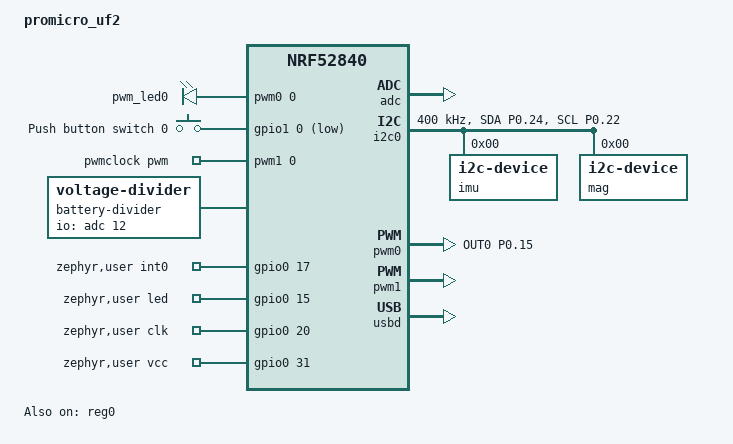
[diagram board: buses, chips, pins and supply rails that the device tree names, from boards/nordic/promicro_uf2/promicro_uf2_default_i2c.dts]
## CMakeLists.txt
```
#
# Copyright (c) 2023 Nordic Semiconductor
#
# SPDX-License-Identifier: LicenseRef-Nordic-5-Clause
#
cmake_minimum_required(VERSION 3.20.0)

# Configure VERSION from repository branch and tag
find_package(Git)

if(GIT_EXECUTABLE)
  execute_process(
    COMMAND ${GIT_EXECUTABLE} branch --show-current
    WORKING_DIRECTORY ${CMAKE_SOURCE_DIR}
    OUTPUT_VARIABLE GIT_BRANCH
    )
  execute_process(
    COMMAND ${GIT_EXECUTABLE} describe --dirty --tags --long --match [0-9]*.[0-9]*.[0-9]*
    WORKING_DIRECTORY ${CMAKE_SOURCE_DIR}
    OUTPUT_VARIABLE GIT_VERSION
    )
  # Prefer a https URL for display (falls back to ssh/origin.url)
  execute_process(
    COMMAND ${GIT_EXECUTABLE} config --get remote.origin.url
    WORKING_DIRECTORY ${CMAKE_SOURCE_DIR}
    OUTPUT_VARIABLE GIT_REPO_URL_SSH
    )
  execute_process(
    COMMAND ${GIT_EXECUTABLE} config --get remote.origin.https.url
    WORKING_DIRECTORY ${CMAKE_SOURCE_DIR}
    OUTPUT_VARIABLE GIT_REPO_URL_HTTPS
    )
  execute_process(
    COMMAND ${GIT_EXECUTABLE} log -1 --pretty=%an
    WORKING_DIRECTORY ${CMAKE_SOURCE_DIR}
    OUTPUT_VARIABLE GIT_AUTHOR
    )
endif()

if(GIT_BRANCH STREQUAL "")
  set(GIT_BRANCH unknown)
  message(WARNING "Unknown Git Branch")
endif()

if(GIT_VERSION STREQUAL "")
  set(GIT_VERSION 0.0.0-0)
  message(WARNING "Unknown Tag/Version")
endif()

# Choose URL: origin.https.url > origin.url
if(NOT GIT_REPO_URL_HTTPS STREQUAL "")
  set(GIT_REPO_URL ${GIT_REPO_URL_HTTPS})
else()
  set(GIT_REPO_URL ${GIT_REPO_URL_SSH})
endif()

# Normalize GitHub SSH URLs to HTTPS for display in firmware info
if(GIT_REPO_URL MATCHES "^git@github\\.com:(.+)$")
  set(GIT_REPO_URL "https://github.com/${CMAKE_MATCH_1}")
elseif(GIT_REPO_URL MATCHES "^ssh://git@github\\.com/(.+)$")
  set(GIT_REPO_URL "https://github.com/${CMAKE_MATCH_1}")
endif()
string(REGEX REPLACE "\\.git$" "" GIT_REPO_URL "${GIT_REPO_URL}")

if(GIT_REPO_URL STREQUAL "")
  set(GIT_REPO_URL unknown)
  message(WARNING "Unknown Git Repo URL")
endif()

if(GIT_AUTHOR STREQUAL "")
  set(GIT_AUTHOR unknown)
  message(WARNING "Unknown Git Author")
endif()

string(STRIP ${GIT_BRANCH} GIT_BRANCH)
string(STRIP ${GIT_VERSION} GIT_VERSION)
string(STRIP ${GIT_REPO_URL} GIT_REPO_URL)
string(STRIP ${GIT_AUTHOR} GIT_AUTHOR)

string(REPLACE "-" ";" GIT_VERSION ${GIT_VERSION})
list(GET GIT_VERSION 0 GIT_RELEASE)
list(GET GIT_VERSION 1 GIT_TWEAK)
string(REPLACE "v" "" GIT_RELEASE ${GIT_RELEASE})
string(REPLACE "." ";" GIT_RELEASE ${GIT_RELEASE})
list(GET GIT_RELEASE 0 GIT_MAJOR)
list(GET GIT_RELEASE 1 GIT_MINOR)
list(GET GIT_RELEASE 2 GIT_PATCH)

configure_file(${CMAKE_SOURCE_DIR}/VERSION_SRC ${CMAKE_SOURCE_DIR}/VERSION @ONLY)

# Pass metadata to C compilation units
add_compile_definitions(
  FW_GIT_BRANCH="${GIT_BRANCH}"
  FW_GIT_REPO_URL="${GIT_REPO_URL}"
  FW_GIT_AUTHOR="${GIT_AUTHOR}"
)

# Zephyr
find_package(Zephyr REQUIRED HINTS $ENV{ZEPHYR_BASE})
project(NONE)

find_package(Python3 QUIET COMPONENTS Interpreter)

if(NOT Python3_Interpreter_FOUND)
  find_program(PYTHON_EXECUTABLE NAMES python3 python REQUIRED)
  set(Python3_EXECUTABLE ${PYTHON_EXECUTABLE})
endif()

set(SOFTDEVICE_HEX_52840 ${CMAKE_SOURCE_DIR}/softdevice/s140_nrf52_7.3.0_softdevice.hex)
set(UF2_FAMILY_ID_52840 0xADA52840)

if(WITH_SOFTDEVICE)
  if(CONFIG_SOC_NRF52840)
    set(sd_softdevice_hex ${SOFTDEVICE_HEX_52840})
    set(sd_uf2_family_id ${UF2_FAMILY_ID_52840})
  else()
    message(FATAL_ERROR "WITH_SOFTDEVICE is currently only supported on nRF52840 targets")
  endif()

  if(DEFINED sd_softdevice_hex)
    if(NOT EXISTS ${sd_softdevice_hex})
      message(FATAL_ERROR "SoftDevice hex not found: ${sd_softdevice_hex}")
    endif()

    set(sd_merged_hex ${CMAKE_BINARY_DIR}/zephyr/zephyr_sd.hex)
    set(sd_merged_uf2 ${CMAKE_BINARY_DIR}/zephyr/zephyr_sd.uf2)

    add_custom_command(
      OUTPUT ${sd_merged_hex} ${sd_merged_uf2}
      COMMAND ${Python3_EXECUTABLE} ${ZEPHYR_BASE}/scripts/build/mergehex.py --overlap=replace -o ${sd_merged_hex} ${sd_softdevice_hex} ${CMAKE_BINARY_DIR}/zephyr/zephyr.hex
      COMMAND ${Python3_EXECUTABLE} ${ZEPHYR_BASE}/scripts/build/uf2conv.py ${sd_merged_hex} -c -f ${sd_uf2_family_id} -o ${sd_merged_uf2}
      DEPENDS ${sd_softdevice_hex} ${CMAKE_BINARY_DIR}/zephyr/zephyr.hex
      VERBATIM
    )

    add_custom_target(sd_merged_uf2 ALL DEPENDS ${sd_merged_hex} ${sd_merged_uf2})
  endif()
endif()

# NORDIC SDK APP START
FILE(GLOB_RECURSE app_sources src/*.c)
target_sources(app PRIVATE ${app_sources})

# fatal_hook.c overrides k_sys_fatal_error_handler (Zephyr __weak symbol).
# Must be compiled without LTO to avoid weak/strong symbol resolution
# conflicts in sysbuild CI where LTO merges all translation units.
set_source_files_properties(src/system/fatal_hook.c PROPERTIES COMPILE_FLAGS "-fno-lto")

# NORDIC SDK APP END

FILE(GLOB_RECURSE files vqf-c/src/*.c)
target_sources(app PRIVATE ${files})
set_property(
  SOURCE ${CMAKE_CURRENT_SOURCE_DIR}/vqf-c/src/vqf.c
  APPEND PROPERTY COMPILE_OPTIONS
  -Wno-double-promotion
)

target_include_directories(app PRIVATE src)
target_include_directories(app PRIVATE vqf-c/src)

# Force recompile for updated build timestamp
add_custom_target(touch_util_h ALL
    COMMAND ${CMAKE_COMMAND} -E touch ${CMAKE_SOURCE_DIR}/src/build_defines.h
)
```

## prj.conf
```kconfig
#CONFIG_NCS_SAMPLES_DEFAULTS
CONFIG_ASSERT=y
# CONFIG_ASSERT_NO_COND_INFO is NOT set - allow assertion condition info to be printed
# CONFIG_ASSERT_NO_MSG_INFO is NOT set - allow assertion message info to be printed

CONFIG_NCS_APPLICATION_BOOT_BANNER_STRING="UltimateB85"
#CONFIG_NCS_BOOT_BANNER=n
CONFIG_BOOT_BANNER=n

CONFIG_ISR_TABLES_LOCAL_DECLARATION=y

CONFIG_ESB=y
#need to enable for nRF54L
#CONFIG_NRFX_DPPI10=y

CONFIG_ADC=y
CONFIG_ADC_NRFX_SAADC=y
CONFIG_FPU=y

# CMSIS-DSP Configuration for VQF optimization
CONFIG_CMSIS_DSP=y
CONFIG_CMSIS_DSP_FASTMATH=y
CONFIG_CMSIS_DSP_BASICMATH=y
CONFIG_CMSIS_DSP_MATRIX=y
CONFIG_CMSIS_DSP_QUATERNIONMATH=y
CONFIG_CMSIS_DSP_SUPPORT=y
CONFIG_CMSIS_DSP_CONTROLLER=y
CONFIG_DSP=y

CONFIG_I2C=y
CONFIG_SPI=y
CONFIG_PINCTRL=y

CONFIG_NVS=y
CONFIG_NVS_LOOKUP_CACHE=y
CONFIG_NVS_INIT_BAD_MEMORY_REGION=y

CONFIG_POWEROFF=y
CONFIG_REBOOT=y

CONFIG_FLASH=y
CONFIG_FLASH_PAGE_LAYOUT=y
CONFIG_FLASH_MAP=y

CONFIG_SETTINGS=y
CONFIG_SETTINGS_RUNTIME=y
CONFIG_SETTINGS_NONE=y

CONFIG_MPU_ALLOW_FLASH_WRITE=y

CONFIG_RETAINED_MEM=y

CONFIG_USE_SEGGER_RTT=y
CONFIG_LOG=y
#CONFIG_PRINTK=y
CONFIG_LOG_PRINTK=y
CONFIG_LOG_MODE_DEFERRED=y
#CONFIG_LOG_MODE_IMMEDIATE=y
CONFIG_LOG_SPEED=y
CONFIG_LOG_BACKEND_RTT=y
CONFIG_CBPRINTF_FP_SUPPORT=y
CONFIG_ADC_LOG_LEVEL_OFF=y
CONFIG_LOG_FUNC_NAME_PREFIX_ERR=y
CONFIG_LOG_BUFFER_SIZE=4096
CONFIG_LOG_BACKEND_UART_AUTOSTART=y
CONFIG_LOG_PROCESS_THREAD_SLEEP_MS=25
CONFIG_LOG_PROCESS_THREAD_STACK_SIZE=1024

CONFIG_PWM=y
CONFIG_GPIO=y

CONFIG_CRC=y

CONFIG_NEWLIB_LIBC=y
# CONFIG_NRFX_TIMER1=y

#speed up boot? (use internal rc oscillator)
CONFIG_CLOCK_CONTROL_NRF_K32SRC_RC=y
CONFIG_CLOCK_CONTROL_NRF_K32SRC_20PPM=y

# dont need it
CONFIG_CRYPTO=n

# set timeout for 25ms, sufficient for ~1000 bytes
CONFIG_I2C_NRFX_TRANSFER_TIMEOUT=25

CONFIG_USB_DEVICE_HID=y
CONFIG_USB_DEVICE_STACK=y
CONFIG_USB_DEVICE_VID=0x1209
CONFIG_USB_DEVICE_PID=0x7692
CONFIG_USB_HID_BOOT_PROTOCOL=y
CONFIG_USB_DEVICE_INITIALIZE_AT_BOOT=n
CONFIG_USB_CDC_ACM=y
CONFIG_UART_INTERRUPT_DRIVEN=y
CONFIG_USB_WORKQUEUE_STACK_SIZE=1024

CONFIG_SERIAL=y
CONFIG_CONSOLE=y
CONFIG_RTT_CONSOLE=y
CONFIG_UART_CONSOLE=y
CONFIG_UART_LINE_CTRL=y

# Increase USB CDC ACM ring buffer size
CONFIG_USB_CDC_ACM_RINGBUF_SIZE=4096

CONFIG_LOG=y
CONFIG_USB_DRIVER_LOG_LEVEL_ERR=y
CONFIG_USB_DEVICE_LOG_LEVEL_ERR=y
CONFIG_USB_CDC_ACM_LOG_LEVEL_OFF=y

CONFIG_LOG_BACKEND_UART=y

CONFIG_CONSOLE_SUBSYS=y
CONFIG_CONSOLE_GETLINE=y

CONFIG_NVS_LOG_LEVEL_WRN=y
CONFIG_USB_HID_LOG_LEVEL_WRN=y

CONFIG_USB_DEVICE_SOF=y
CONFIG_USB_HID_REPORTS=256

#CONFIG_USB_HID_POLL_INTERVAL_MS=1
CONFIG_USB_HID_POLL_INTERVAL_MS=0
CONFIG_HID_INTERRUPT_EP_MPS=64
#CONFIG_ENABLE_HID_INT_OUT_EP=y

CONFIG_SYSTEM_WORKQUEUE_STACK_SIZE=512
CONFIG_MAIN_STACK_SIZE=2048
#crashing on nrf54l at 512

CONFIG_THREAD_NAME=y

# TODO: because of icm426, this will break things and needs to be raised to at least 3k
CONFIG_HEAP_MEM_POOL_SIZE=4096
CONFIG_ISR_STACK_SIZE=1024

CONFIG_PM_DEVICE=y


CONFIG_USE_ACTIVE_TIMEOUT=y

# 100ms switch delay will be obvious to users, so we choose not to use it by default,
# but it can be enabled for testing or specific use cases
CONFIG_SENSOR_USE_LOW_POWER_2=n

# control low power mode
# due to current mag reading is process in sensor loop,
# low power mode will cause mag reading isn't at target odr,
# so currently it should be disabled by default
CONFIG_USE_IMU_TIMEOUT=n
# a very large low power timeout (1h) to prevent it from triggering
CONFIG_SENSOR_LP_TIMEOUT=3600000

# 135 seconds timeout with wake on motion
CONFIG_ACTIVE_TIMEOUT_DELAY=135000
CONFIG_USE_IMU_WAKE_UP=y

# or 6 hours timeout
# CONFIG_USE_IMU_WAKE_UP=n
# CONFIG_ACTIVE_TIMEOUT_DELAY=21600000

CONFIG_USER_EXTRA_ACTIONS=y
CONFIG_DISABLE_SENSOR_GPIOS_ON_SHUTDOWN=y

CONFIG_ESB_MAX_PAYLOAD_LENGTH=72
CONFIG_ESB_TX_FIFO_SIZE=8
CONFIG_ESB_RX_FIFO_SIZE=8
CONFIG_RADIO_RF_CHANNEL=84
CONFIG_RADIO_RETRANSMIT_DELAY=310
CONFIG_CONNECTION_ENABLE_ACK=n
CONFIG_RADIO_TX_POWER=8
# 3 minutes timeout after ping continuous failed
CONFIG_CONNECTION_TIMEOUT_DELAY=180000

CONFIG_SENSOR_USE_6_SIDE_CALIBRATION=y
CONFIG_SENSOR_USE_SENS_CALIBRATION=y
CONFIG_SENSOR_SENS_REV=5

CONFIG_SENSOR_USE_TCAL=y

# Boot calibration is disabled by default
# CONFIG_SENSOR_USE_BOOT_CALIBRATION=y

# Range statistics tracking (disabled by default to optimize performance)
# CONFIG_SENSOR_RANGE_STATS=y

# CONFIG_SENSOR_GYRO_ODR=400
# oversampling and odr settings
# icm45 800, dsv 960
CONFIG_SENSOR_GYRO_ODR=400
# icm45 ~200, dsv ~240
# CONFIG_SENSOR_GYRO_OVERSAMPLING=4
# icm45 800, dsv 960
# CONFIG_SENSOR_ACCEL_ODR=800
# icm45 ~100, dsv ~120
# CONFIG_SENSOR_ACCEL_OVERSAMPLING=8
CONFIG_SENSOR_MAG_ODR=50
CONFIG_SENSOR_MAG_FIXED_ODR=y

# VQF experimental features
# CONFIG_VQF_ADAPTIVE_TAU_ACC=y

# Watchdog Configuration
CONFIG_WATCHDOG=y
CONFIG_WDT_NRFX=y
CONFIG_TASK_WDT=y
CONFIG_TASK_WDT_CHANNELS=8
CONFIG_TASK_WDT_HW_FALLBACK=y
CONFIG_TASK_WDT_HW_FALLBACK_DELAY=5000

# enable tdma on board which don't have lfxo, it can use lf clock synthesized by hf clock,
# but it will increase a lot of power consumption, so if you want to use it, you can enable below config,
# or define it in board level Kconfig file.

# CONFIG_CLOCK_USE_LFXO=n
CONFIG_CONNECTION_TDMA=y

# Enable VQF benchmark mode for performance testing (disabled by default)
# CONFIG_VQF_BENCH=y
```

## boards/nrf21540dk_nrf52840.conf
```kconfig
CONFIG_USB_DEVICE_STACK=y
CONFIG_USB_DEVICE_MANUFACTURER="CaRido"
CONFIG_USB_DEVICE_PRODUCT="UltimateB85"
```

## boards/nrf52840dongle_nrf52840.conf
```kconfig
CONFIG_USB_DEVICE_STACK=y
CONFIG_USB_DEVICE_MANUFACTURER="CaRido"
CONFIG_USB_DEVICE_PRODUCT="UltimateB85"

CONFIG_LED_RGB_COLOR=y
```

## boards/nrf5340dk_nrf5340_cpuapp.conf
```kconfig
CONFIG_USB_DEVICE_STACK=y
CONFIG_USB_DEVICE_MANUFACTURER="CaRido"
CONFIG_USB_DEVICE_PRODUCT="UltimateB85"

CONFIG_ESB=n
```

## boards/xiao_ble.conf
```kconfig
CONFIG_USB_DEVICE_STACK=y
CONFIG_USB_DEVICE_MANUFACTURER="CaRido"
CONFIG_USB_DEVICE_PRODUCT="UltimateB85"
CONFIG_USB_DEVICE_INITIALIZE_AT_BOOT=y
CONFIG_BOOT_DELAY=2000

CONFIG_BATTERY_USE_REG_LDO_MAPPING=y
CONFIG_LED_RGB_COLOR=y
```

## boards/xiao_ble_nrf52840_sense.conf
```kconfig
CONFIG_USB_DEVICE_STACK=y
CONFIG_USB_DEVICE_MANUFACTURER="CaRido"
CONFIG_USB_DEVICE_PRODUCT="UltimateB85"

CONFIG_BATTERY_USE_REG_LDO_MAPPING=y
CONFIG_LED_RGB_COLOR=y
```

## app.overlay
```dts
/ {
	chosen {
		zephyr,console = &cdc_acm_uart0;
		zephyr,shell-uart = &cdc_acm_uart0;
	};
};

&usbd {
	cdc_acm_uart0: cdc_acm_uart0 {
		compatible = "zephyr,cdc-acm-uart";
	};
};
```

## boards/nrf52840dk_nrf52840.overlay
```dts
&pwm0_default {
	group1 {
		psels = <NRF_PSEL(PWM_OUT0, 0, 13)>,
			<NRF_PSEL(PWM_OUT1, 0, 14)>,
			<NRF_PSEL(PWM_OUT2, 0, 15)>;
		nordic,drive-mode = <NRF_DRIVE_D0S1>;
		nordic,invert;
	};
};

&pwm0_sleep {
	group1 {
		psels = <NRF_PSEL(PWM_OUT0, 0, 13)>,
			<NRF_PSEL(PWM_OUT1, 0, 14)>,
			<NRF_PSEL(PWM_OUT2, 0, 15)>;
	};
};

&i2c0_default {
	group1 {
		bias-disable;
	};
};

&i2c0_sleep {
	group1 {
		bias-disable;
	};
};

/ {
	chosen {
		zephyr,console = &cdc_acm_uart0;
		zephyr,shell-uart = &cdc_acm_uart0;
	};

	pwmleds {
		pwm_led1: pwm_led_1 {
			pwms = <&pwm0 1 PWM_MSEC(20) PWM_POLARITY_INVERTED>;
		};
		pwm_led2: pwm_led_2 {
			pwms = <&pwm0 2 PWM_MSEC(20) PWM_POLARITY_INVERTED>;
		};
	};

	battery-divider {
		compatible = "voltage-divider";
		status = "okay";
		io-channels = <&adc 12>; // Measure VDDHDIV5
		output-ohms = <1>;
		full-ohms = <2>;
	};

	aliases {
		pwm-led1 = &pwm_led1;
		pwm-led2 = &pwm_led2;
	};
};

&i2c0 {
	compatible = "nordic,nrf-twim";
	zephyr,concat-buf-size = <1023>;
	zephyr,flash-buf-max-size = <1023>;
	clock-frequency = <I2C_BITRATE_FAST>;

	imu: imu@0 { // any address out of range (00, 7f, etc. will search all addresses and stored address first if available, specify an address here to search first otherwise
		compatible = "i2c-device";
		label = "imu";
		reg = <0>;
	};

	mag: mag@0 {
		compatible = "i2c-device";
		label = "mag";
		reg = <0>;
	};

};

&spi3 {
	imu_spi: imu_spi@0 {
		compatible = "vnd,spi-device";
		spi-max-frequency = <DT_FREQ_M(32)>;
		label = "imu-spi";
		reg = <0>;
	};
};

&usbd {
	cdc_acm_uart0: cdc_acm_uart0 {
		compatible = "zephyr,cdc-acm-uart";
	};
};
```

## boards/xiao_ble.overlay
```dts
&i2c1_default {
	group1 {
		psels = <NRF_PSEL(TWIM_SDA, 0, 24)>, <NRF_PSEL(TWIM_SCL, 0, 22)>;
		bias-disable;
	};
};

&i2c1_sleep {
	group1 {
		psels = <NRF_PSEL(TWIM_SDA, 0, 24)>, <NRF_PSEL(TWIM_SCL, 0, 22)>;
		bias-disable;
	};
};

&spi2_default {
	group1 {
		psels = <NRF_PSEL(SPIM_MISO, 1, 11)>,
			<NRF_PSEL(SPIM_MOSI, 1, 13)>,
			<NRF_PSEL(SPIM_SCK, 1, 15)>;
	};
};

&spi2_sleep {
	group1 {
		psels = <NRF_PSEL(SPIM_MISO, 1, 11)>,
			<NRF_PSEL(SPIM_MOSI, 1, 13)>,
			<NRF_PSEL(SPIM_SCK, 1, 15)>;
		low-power-enable;
	};
};

&pwm0_default {
	group1 {
		psels = <NRF_PSEL(PWM_OUT0, 0, 26)>,
			<NRF_PSEL(PWM_OUT1, 0, 30)>,
			<NRF_PSEL(PWM_OUT2, 0, 6)>;
		nordic,drive-mode = <NRF_DRIVE_D0S1>;
		nordic,invert;
	};
};

&pwm0_sleep {
	group1 {
		psels = <NRF_PSEL(PWM_OUT0, 0, 26)>,
			<NRF_PSEL(PWM_OUT1, 0, 30)>,
			<NRF_PSEL(PWM_OUT2, 0, 6)>;
	};
};

/ {
	chosen {
		zephyr,console = &cdc_acm_uart0;
		zephyr,shell-uart = &cdc_acm_uart0;
	};

	pwmleds {
		pwm_led0: pwm_led_0 {
			pwms = <&pwm0 0 PWM_MSEC(1) PWM_POLARITY_INVERTED>;
		};
		pwm_led1: pwm_led_1 {
			pwms = <&pwm0 1 PWM_MSEC(1) PWM_POLARITY_INVERTED>;
		};
		pwm_led2: pwm_led_2 {
			pwms = <&pwm0 2 PWM_MSEC(1) PWM_POLARITY_INVERTED>;
		};
	};

	buttons {
		compatible = "gpio-keys";
		button0: button_0 {
			gpios = <&gpio0 2 (GPIO_PULL_UP | GPIO_ACTIVE_LOW)>;
			label = "Push button switch 0";
			status = "disabled";
		};
	};

	aliases {
		// sw0 = &button0; // Uncomment to Enable SW0
		pwm-led1 = &pwm_led1;
		pwm-led2 = &pwm_led2;
	};

	battery-divider {
        compatible = "voltage-divider";
        status = "okay";
        io-channels = <&adc 7>;
        output-ohms = <510000>;
        full-ohms = <(1000000+510000)>;
        power-gpios = <&gpio0 14 (GPIO_OPEN_DRAIN|GPIO_ACTIVE_LOW)>;
	};

	zephyr,user {
		int0-gpios = <&gpio0 2 0>;
		led-gpios = <&gpio0 17 (GPIO_OPEN_DRAIN|GPIO_ACTIVE_LOW)>;
		// clk-gpios = <&gpio0 28 GPIO_OPEN_DRAIN>; // Uncomment and set to correct pin if using an external clock (crystal oscillator)
	};

};

/delete-node/ &uart0;

&i2c1 {
	status = "okay";
	compatible = "nordic,nrf-twim";
	zephyr,concat-buf-size = <1023>;
	zephyr,flash-buf-max-size = <1023>;
	clock-frequency = <I2C_BITRATE_STANDARD>;

	imu: imu@0 { // any address out of range (00, 7f, etc. will search all addresses and stored address first if available, specify an address here to search first otherwise
		compatible = "i2c-device";
		label = "imu";
		reg = <0>;
	};

	mag: mag@0 {
		compatible = "i2c-device";
		label = "mag";
		reg = <0>;
	};

};

&usbd {
	cdc_acm_uart0: cdc_acm_uart0 {
		compatible = "zephyr,cdc-acm-uart";
	};
};

/delete-node/ &spi2;
/delete-node/ &qspi;

&spi3 {
	compatible = "nordic,nrf-spim";
	status = "okay";
	max-frequency = <DT_FREQ_M(24)>;
	pinctrl-0 = <&spi2_default>;
	pinctrl-1 = <&spi2_sleep>;
	pinctrl-names = "default", "sleep";
	cs-gpios = <&gpio1 0 GPIO_ACTIVE_LOW>;

	imu_spi: imu_spi@0 {
		compatible = "vnd,spi-device";
		spi-max-frequency = <DT_FREQ_M(24)>;
		label = "imu-spi";
		reg = <0>;
	};
};

&cryptocell {
	status = "disabled";
};

&nfct {
	status = "disabled";
};
```

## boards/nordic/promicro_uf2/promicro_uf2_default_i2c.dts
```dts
// Copyright (c) 2024 Nordic Semiconductor ASA
// SPDX-License-Identifier: Apache-2.0

/dts-v1/;
#include <nordic/nrf52840_qiaa.dtsi>

//move to dtsi?
&pinctrl {
	i2c0_default: i2c0_default {
		group1 {
			psels = <NRF_PSEL(TWIM_SDA, 0, 24)>, <NRF_PSEL(TWIM_SCL, 0, 22)>;
			bias-disable;
		};
	};

	i2c0_sleep: i2c0_sleep {
		group1 {
			psels = <NRF_PSEL(TWIM_SDA, 0, 24)>, <NRF_PSEL(TWIM_SCL, 0, 22)>;
			bias-disable;
			low-power-enable;
		};
	};

	pwm0_default: pwm0_default {
		group1 {
			psels = <NRF_PSEL(PWM_OUT0, 0, 15)>;
			nordic,drive-mode = <NRF_DRIVE_D0S1>;
		};
	};

	pwm0_sleep: pwm0_sleep {
		group1 {
			psels = <NRF_PSEL(PWM_OUT0, 0, 15)>;
			low-power-enable;
		};
	};

	pwm1_default: pwm1_default {
		group1 {
			psels = <NRF_PIN_DISCONNECTED>;
		};
	};

	pwm1_sleep: pwm1_sleep {
		group1 {
			psels = <NRF_PIN_DISCONNECTED>;
			low-power-enable;
		};
	};
};
//end

/ {
	model = "promicro_uf2";
	compatible = "promicro_uf2";

	chosen {
		zephyr,sram = &sram0;
		zephyr,flash = &flash0;
		zephyr,console = &cdc_acm_uart0;
		zephyr,shell-uart = &cdc_acm_uart0;
	};

	pwmleds {
		compatible = "pwm-leds";
		pwm_led0: pwm_led_0 {
			pwms = <&pwm0 0 PWM_MSEC(1) PWM_POLARITY_NORMAL>;
		};
	};

	buttons {
		compatible = "gpio-keys";
		button0: button_0 {
			gpios = <&gpio1 0 (GPIO_PULL_UP | GPIO_ACTIVE_LOW)>;
			label = "Push button switch 0";
		};
	};

	aliases {
		sw0 = &button0;
		pwm-led0 = &pwm_led0;
	};

	pwmclock: pwmclock {
		compatible = "pwm-clock";
		#clock-cells = <1>;
		pwms = <&pwm1 0 PWM_HZ(32768) PWM_POLARITY_NORMAL>;
	};

	battery-divider {
		compatible = "voltage-divider";
		status = "okay";
		io-channels = <&adc 12>; // Measure VDDHDIV5
		output-ohms = <1>;
		full-ohms = <5>;
	};

	zephyr,user {
		int0-gpios = <&gpio0 17 0>;
		led-gpios = <&gpio0 15 GPIO_OPEN_SOURCE>;
		clk-gpios = <&gpio0 20 GPIO_OPEN_DRAIN>; // Uncomment and set to correct pin if using an external clock (crystal oscillator)
		vcc-gpios = <&gpio0 31 0>;
	};

};

&reg0 {
	status = "okay";
};

&reg1 {
	regulator-initial-mode = <NRF5X_REG_MODE_DCDC>;
};

&adc {
	status = "okay";
};

&gpiote {
	status = "okay";
};

&gpio0 {
	status = "okay";
};

&gpio1 {
	status = "okay";
};

&i2c0 {
	compatible = "nordic,nrf-twim";
	status = "okay";
	zephyr,concat-buf-size = <1023>;
	zephyr,flash-buf-max-size = <1023>;
	clock-frequency = <I2C_BITRATE_FAST>;
	pinctrl-0 = <&i2c0_default>;
	pinctrl-1 = <&i2c0_sleep>;
	pinctrl-names = "default", "sleep";

	imu: imu@0 {
		compatible = "i2c-device";
		label = "imu";
		reg = <0>;
	};

	mag: mag@0 {
		compatible = "i2c-device";
		label = "mag";
		reg = <0>;
	};

};

&pwm0 {
	status = "okay";
	pinctrl-0 = <&pwm0_default>;
	pinctrl-1 = <&pwm0_sleep>;
	pinctrl-names = "default", "sleep";
};

&pwm1 {
	status = "okay";
	pinctrl-0 = <&pwm1_default>;
	pinctrl-1 = <&pwm1_sleep>;
	pinctrl-names = "default", "sleep";
};

zephyr_udc0: &usbd {
	compatible = "nordic,nrf-usbd";
	status = "okay";
	cdc_acm_uart0: cdc_acm_uart0 {
		compatible = "zephyr,cdc-acm-uart";
	};
};

&cryptocell {
	status = "disabled";
};

&nfct {
	status = "disabled";
};
```

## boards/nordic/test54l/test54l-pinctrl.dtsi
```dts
&pinctrl {
	i2c0_default: i2c0_default {
		group1 {
			psels = <NRF_PSEL(TWIM_SDA, 1, 6)>,
				<NRF_PSEL(TWIM_SCL, 1, 5)>;
			bias-disable;
		};
	};

	i2c0_sleep: i2c0_sleep {
		group1 {
			psels = <NRF_PSEL(TWIM_SDA, 1, 6)>,
				<NRF_PSEL(TWIM_SCL, 1, 5)>;
			low-power-enable;
			bias-disable;
		};
	};

	spi00_default: spi00_default {
		group1 {
			psels = <NRF_PSEL(SPIM_SCK, 1, 4)>,
				<NRF_PSEL(SPIM_MOSI, 1, 3)>,
				<NRF_PSEL(SPIM_MISO, 1, 2)>;
		};
	};

	spi00_sleep: spi00_sleep {
		group1 {
			psels = <NRF_PSEL(SPIM_SCK, 1, 4)>,
				<NRF_PSEL(SPIM_MOSI, 1, 3)>,
				<NRF_PSEL(SPIM_MISO, 1, 2)>;
				low-power-enable;
		};
	};

};
```

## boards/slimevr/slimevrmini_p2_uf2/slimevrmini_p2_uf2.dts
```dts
// Copyright (c) 2024 Nordic Semiconductor ASA
// SPDX-License-Identifier: Apache-2.0

/dts-v1/;
#include <nordic/nrf52833_qiaa.dtsi>

//move to dtsi?
&pinctrl {
	i2c0_default: i2c0_default {
		group1 {
			psels = <NRF_PSEL(TWIM_SDA, 0, 26)>, <NRF_PSEL(TWIM_SCL, 0, 27)>;
			bias-disable;
		};
	};

	i2c0_sleep: i2c0_sleep {
		group1 {
			psels = <NRF_PSEL(TWIM_SDA, 0, 26)>, <NRF_PSEL(TWIM_SCL, 0, 27)>;
			bias-disable;
			low-power-enable;
		};
	};

	pwm0_default: pwm0_default {
		group1 {
			psels = <NRF_PSEL(PWM_OUT0, 0, 6)>;
			nordic,drive-mode = <NRF_DRIVE_D0S1>;
			nordic,invert;
		};
	};

	pwm0_sleep: pwm0_sleep {
		group1 {
			psels = <NRF_PSEL(PWM_OUT0, 0, 6)>;
			low-power-enable;
		};
	};
};
//end

/ {
	model = "slimevrmini_p2_uf2";
	compatible = "slimevrmini_p2_uf2";

	chosen {
		zephyr,sram = &sram0;
		zephyr,flash = &flash0;
		zephyr,console = &cdc_acm_uart0;
		zephyr,shell-uart = &cdc_acm_uart0;
	};

	pwmleds {
		compatible = "pwm-leds";
		pwm_led0: pwm_led_0 {
			pwms = <&pwm0 0 PWM_MSEC(1) PWM_POLARITY_INVERTED>;
		};
	};

	buttons {
		compatible = "gpio-keys";
		button0: button_0 {
			gpios = <&gpio0 8 (GPIO_PULL_UP | GPIO_ACTIVE_LOW)>;
			label = "Push button switch 0";
		};
	};

	aliases {
		sw0 = &button0;
		pwm-led0 = &pwm_led0;
	};

	battery-divider {
		compatible = "voltage-divider";
		status = "okay";
		io-channels = <&adc 0>;
		output-ohms = <402000>;
		full-ohms = <(402000+402000)>;
		power-gpios = <&gpio0 14 (GPIO_OPEN_DRAIN | GPIO_ACTIVE_LOW)>;
	};

	zephyr,user {
		int0-gpios = <&gpio0 28 0>;
		int1-gpios = <&gpio0 2 (GPIO_ACTIVE_LOW | GPIO_PULL_UP)>;
		led-gpios = <&gpio0 6 (GPIO_OPEN_DRAIN | GPIO_ACTIVE_LOW)>;
		//clk-gpios = <&gpio0 28 GPIO_OPEN_DRAIN>;
		chg-gpios = <&gpio0 17 (GPIO_ACTIVE_LOW | GPIO_PULL_UP)>;
		stby-gpios = <&gpio0 15 (GPIO_ACTIVE_LOW | GPIO_PULL_UP)>;
		//dcdc-gpios = <&gpio1 1 GPIO_OPEN_DRAIN>;
		//ldo-gpios = <&gpio1 2 GPIO_OPEN_DRAIN>;
	};

};

&reg1 {
	regulator-initial-mode = <NRF5X_REG_MODE_DCDC>;
};

&adc {
	status = "okay";
};

&gpiote {
	status = "okay";
};

&gpio0 {
	status = "okay";
};

&gpio1 {
	status = "okay";
};

&i2c0 {
	compatible = "nordic,nrf-twim";
	status = "okay";
	zephyr,concat-buf-size = <1023>;
	zephyr,flash-buf-max-size = <1023>;
	clock-frequency = <I2C_BITRATE_FAST>;
	pinctrl-0 = <&i2c0_default>;
	pinctrl-1 = <&i2c0_sleep>;
	pinctrl-names = "default", "sleep";

	imu: imu@0 { // any address out of range (00, 7f, etc. will search all addresses and stored address first if available, specify an address here to search first otherwise
		compatible = "i2c-device";
		label = "imu";
		reg = <0>;
	};

	mag: mag@0 {
		compatible = "i2c-device";
		label = "mag";
		reg = <0>;
	};

};

&pwm0 {
	status = "okay";
	pinctrl-0 = <&pwm0_default>;
	pinctrl-1 = <&pwm0_sleep>;
	pinctrl-names = "default", "sleep";
};

zephyr_udc0: &usbd {
	compatible = "nordic,nrf-usbd";
	status = "okay";
	cdc_acm_uart0: cdc_acm_uart0 {
		compatible = "zephyr,cdc-acm-uart";
	};
};

&nfct {
	status = "disabled";
};
```

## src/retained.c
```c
/*
 * Copyright (c) 2021 Nordic Semiconductor ASA
 *
 * SPDX-License-Identifier: Apache-2.0
 */

#include "retained.h"

#include <stdint.h>
#include <string.h>

#include <zephyr/kernel.h>
#include <zephyr/devicetree.h>
#include <zephyr/drivers/retained_mem.h>
#include <zephyr/sys/byteorder.h>
#include <zephyr/sys/crc.h>

#include "build_defines.h"

#if DT_NODE_HAS_STATUS_OKAY(DT_ALIAS(retainedmemdevice))
#define MEMORY_REGION DT_PARENT(DT_ALIAS(retainedmemdevice))
#else
#error "retained_mem region not defined"
#endif

struct retained_data *retained = (struct retained_data *)DT_REG_ADDR(MEMORY_REGION);

#define RETAINED_CRC_OFFSET offsetof(struct retained_data, crc)
#define RETAINED_CHECKED_SIZE (RETAINED_CRC_OFFSET + sizeof(retained->crc))

static uint64_t init_time;

static int retained_init(void)
{
	init_time = k_uptime_ticks(); // Get current uptime in ticks as soon as possible
	return 0;
}

// TODO: priority?
SYS_INIT(retained_init, APPLICATION, CONFIG_APPLICATION_INIT_PRIORITY);

bool retained_validate(void)
{
	NRF_STATIC_ASSERT((RETAINED_CHECKED_SIZE <= 3072), "Retained data size exceeds 3 KB limit");

	uint64_t now = init_time;
//	uint64_t now = k_uptime_ticks(); // Get current uptime in ticks as soon as possible

	/* The residue of a CRC is what you get from the CRC over the
	 * message catenated with its CRC.  This is the post-final-xor
	 * residue for CRC-32 (CRC-32/ISO-HDLC) which Zephyr calls
	 * crc32_ieee.
	 */
	const uint32_t residue = 0x2144df1c;
	uint32_t crc = crc32_ieee((const uint8_t *)retained,
				  RETAINED_CHECKED_SIZE);
	bool valid = (crc == residue);

	/* Check the build timestamp of the firmware that last updated
	 * the retained data.
	 */
	valid &= (retained->build_timestamp == BUILD_TIMESTAMP);

	/* If the CRC isn't valid or the build timestamp is different
	 * from the current build timestamp, reset the retained data.
	 */
	if (!valid) {
		/* Clear entire retained data including watchdog_state when CRC/build_timestamp invalid
		 * (e.g., after firmware update). This ensures total_wdt_resets doesn't have garbage values.
		 */
		memset(retained, 0, sizeof(struct retained_data));
		retained->build_timestamp = BUILD_TIMESTAMP;
		retained->gyroSensScale[0] = 1.0f;
		retained->gyroSensScale[1] = 1.0f;
		retained->gyroSensScale[2] = 1.0f;
		// Initialize battery tracker to invalid state (-1)
		retained->max_battery_pptt = -1;
		retained->min_battery_pptt = -1;
		retained->battery_pptt_saved = -1;
#if CONFIG_SENSOR_USE_TCAL
		// Initialize boot calibration state
		#ifdef CONFIG_SENSOR_USE_BOOT_CALIBRATION
		retained->bootCalState.enabled = true;
		#else
		retained->bootCalState.enabled = false;
		#endif
		retained->bootCalState.completed = false;
		retained->bootCalState.attempt_count = 0;
		retained->bootCalState.doffset_valid = false;
		retained->bootCalState.doffset[0] = 0.0f;
		retained->bootCalState.doffset[1] = 0.0f;
		retained->bootCalState.doffset[2] = 0.0f;
		retained->tcal_enabled = true; // T-Cal compensation enabled by default
#endif
		/* Initialize watchdog_state with valid magic but zero counters */
		retained->watchdog_state.magic = WATCHDOG_STATE_MAGIC;
		retained->watchdog_state.reset_count = 0;
		retained->watchdog_state.total_wdt_resets = 0;
		retained->watchdog_state.last_failed_channel = 0;
		retained->watchdog_state.last_reset_uptime = 0;

		/* Initialize last_reset_info magic (counters are zero from memset) */
		retained->last_reset_info.magic = LAST_RESET_INFO_MAGIC;

		/* Initialize fatal_error_info magic (counters are zero from memset) */
		retained->fatal_error_info.magic = FATAL_ERROR_INFO_MAGIC;
	}

	/* Reset to accrue runtime from this session. */
	retained->uptime_latest = now;
	retained->battery_uptime_latest = now;

	return valid;
}

void retained_update(void)
{
	uint64_t now = k_uptime_ticks();

	retained->uptime_sum += (now - retained->uptime_latest);
	retained->uptime_latest = now;

	uint32_t crc = crc32_ieee((const uint8_t *)retained,
				  RETAINED_CRC_OFFSET);

	retained->crc = sys_cpu_to_le32(crc);
}
```

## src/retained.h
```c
/*
 * Copyright (c) 2021 Nordic Semiconductor ASA
 *
 * SPDX-License-Identifier: Apache-2.0
 */

#ifndef RETAINED_H_
#define RETAINED_H_

#include <stdbool.h>
#include <stddef.h>
#include <stdint.h>

#if CONFIG_SENSOR_USE_TCAL
// A single point in temperature calibration data
struct TempCalPoint {
	float temp;    // The temperature for this point
	float bias[3]; // The gyro bias (x, y, z)
};
#endif

struct retained_data {
	/* The build version of the firmware that last updated the
	 * retained data.
	 */
	uint32_t build_timestamp;

	/* The uptime from the current session the last time the
	 * retained data was updated.
	 */
	uint64_t uptime_latest;

	/* Cumulative uptime from all previous sessions up through
	 * uptime_latest of this session.
	 */
	uint64_t uptime_sum;

	/* Battery statistics.  Tracking for discharge curve only begins
	 * after ~3% discharged.  If battery_pptt has changed significantly
	 * compared to min_battery_pptt since the last update,
	 * the statistics are cleared and may be saved to NVS.
	 */
	int16_t max_battery_pptt;
	int16_t min_battery_pptt;

	/* Battery uptime from last retained update */
	uint64_t battery_uptime_latest;

	/* Cumulative runtime */
	uint64_t battery_runtime_sum;

	/* Last interval stored in NVS */
	int16_t battery_pptt_saved;
	uint64_t battery_runtime_saved;

	/* Calibrated discharge curve */
	int16_t battery_pptt_curve[18];

	uint8_t reboot_counter;
	uint8_t paired_addr[8];

	uint8_t sensor_data[128];

	float accelBias[3];
	float gyroBias[3];
	float magBias[3];
	float magBAinv[4][3];
	float accBAinv[4][3];
	float gyroSensScale[3]; // Gyro sensitivity


	uint8_t fusion_id; // fusion_data_stored
	uint8_t fusion_data[784];

	uint16_t imu_addr;
	uint16_t mag_addr;

	uint8_t imu_reg;
	uint8_t mag_reg;

	uint8_t rf_channel; // RF channel (0-100), 0xFF means use default

	bool mag_enabled;

	// Online magnetometer calibration runtime state.
	// Persists across WoM resumes so online mag cal does not re-enter
	// early bootstrap after every wake, but is cleared on full reboot/shutdown.
	struct {
		float last_buf_avg_norm;
		uint8_t update_count;
		uint8_t reserved[3];
	} onlineMagState;

#if CONFIG_SENSOR_USE_TCAL
	bool tcal_enabled; // Temperature calibration compensation enabled
	float gyroTemp;

	#define TCAL_BUFFER_SIZE                                                                                               \
		(int)((CONFIG_SENSOR_POLY_TEMP_MAX - CONFIG_SENSOR_POLY_TEMP_MIN) * CONFIG_SENSOR_POLY_STEPS_PER_DEGREE)
		struct TempCalPoint tempCalPoints[TCAL_BUFFER_SIZE];
	float tempCalCoeffs[3][CONFIG_SENSOR_POLY_DEGREE + 1];
	float tempCalCorrectionOffset[3];

	struct {
		uint16_t count;
		bool valid;
		uint8_t degree;
	} tempCalState;

	// Boot calibration state (runtime only, persists in WoM but resets on full reboot)
	struct {
		bool enabled;              // Feature enabled
		bool completed;            // Completed for this boot
		uint8_t attempt_count;     // Number of attempts
		float doffset[3];          // Calculated D_offset (runtime only)
		bool doffset_valid;        // D_offset is valid
	} bootCalState;
#endif

	/* CRC used to validate the retained data.  This must be
	 * stored little-endian, and covers everything up to but not
	 * including this field.
	 */
	uint32_t crc;

	/* ==== FIELDS BELOW ARE NOT INCLUDED IN CRC CALCULATION ==== */
	/* These fields are intentionally placed after the CRC so they can
	 * be modified without invalidating the CRC. This is important for
	 * watchdog state which must persist across unexpected resets.
	 */

	// Watchdog state (persists across WDT resets, outside CRC validation)
	struct {
		uint8_t reset_count;           // WDT consecutive reset count
		uint8_t last_failed_channel;   // Last channel that failed to feed
		uint32_t last_reset_uptime;    // System uptime at last WDT reset (ms)
		uint32_t total_wdt_resets;     // Cumulative WDT reset count (for debugging)
		uint32_t magic;                // Magic number to validate watchdog state
	} watchdog_state;

	// Last reset diagnostics (persists across all reset types, outside CRC)
	struct {
		uint32_t resetreas;            // RESETREAS register value from last reset
		uint8_t  reboot_counter;       // reboot_counter at time of last reset
		uint8_t  sreq_source;          // Source of last SREQ (if RESETREAS has SREQ bit)
		uint16_t sreq_flags;           // Flags: bit0=tagged by app, bit1=auto-detected by WDT
		uint32_t total_resets;         // Monotonically increasing reset counter
		uint32_t magic;                // Magic number to validate
	} last_reset_info;

	// Zephyr fatal error diagnostics (persists across resets, outside CRC)
	struct {
		uint32_t reason;               // k_sys_fatal_error_handler reason code
		uint32_t pc;                   // Program counter at fault (0 if unavailable)
		uint32_t lr;                   // Link register at fault
		uint32_t cfsr;                 // ARM Configurable Fault Status Register
		uint32_t hfsr;                 // ARM HardFault Status Register
		uint32_t assert_line;          // __LINE__ of failed assertion (0 if not an assert)
		uint32_t assert_file_addr;     // Flash address of __FILE__ string (0 if not an assert)
		uint32_t thread_name_u32[4];   // Thread name stored as uint32_t[4] (16 bytes), avoids char[] alignment/persistence issues
		uint32_t magic;                // Magic number to validate
	} fatal_error_info;
};

/* sreq_flags bit definitions */
#define SREQ_FLAG_TAGGED    (1U << 0)  /* lastreset_tag_sreq_source() was called */
#define SREQ_FLAG_DETECTED  (1U << 1)  /* watchdog_early_check auto-detected untagged SREQ */

/* Magic number to validate watchdog state */
#define WATCHDOG_STATE_MAGIC 0x57445447  /* "WDTG" in ASCII */

/* Magic number to validate last_reset_info */
#define LAST_RESET_INFO_MAGIC 0x4C525354  /* "LRST" in ASCII */

/* Magic number to validate fatal_error_info */
#define FATAL_ERROR_INFO_MAGIC 0x4641544C  /* "FATL" in ASCII */

/* Sources for software-requested resets (SREQ) */
enum sreq_source {
	SREQ_SRC_UNKNOWN = 0,          /* untagged (legacy / cold boot) */
	SREQ_SRC_CONSOLE_REBOOT,       /* console.c "reboot" command */
	SREQ_SRC_CONSOLE_SENS_RESET,   /* console.c "sens reset" */
	SREQ_SRC_CONSOLE_DFU_CMD,      /* console.c dfu commands */
	SREQ_SRC_WDT_DFU_ENTER,        /* watchdog.c DFU threshold exceeded */
	SREQ_SRC_SENSOR_INIT_FAIL,     /* sensor.c sensor init failure */
	SREQ_SRC_SENSOR_MAG_TOGGLE,    /* sensor.c mag enable/disable reboot */
	SREQ_SRC_SENSOR_PKT_ERR,       /* sensor.c packet error threshold */
	SREQ_SRC_ESB_REMOTE_REBOOT,    /* esb.c remote REBOOT command */
	SREQ_SRC_ESB_REMOTE_DFU,       /* esb.c remote DFU command */
	SREQ_SRC_ESB_REMOTE_DFU_OTA,   /* esb.c remote DFU_OTA command */
	SREQ_SRC_BTN_SINGLE_CLICK,     /* system.c button single click */
	SREQ_SRC_USER_SHUTDOWN_ALT,    /* system.c user_shutdown fallback to reboot */
	SREQ_SRC_SYSTEM_DFU_UF2,       /* system.c DFU UF2 mode */
	SREQ_SRC_SYSTEM_DFU_OTA,       /* system.c DFU OTA mode */
	SREQ_SRC_POWER_IMMEDIATE,      /* power.c immediate reboot request */
	SREQ_SRC_ESB_OTA_COMPLETE,     /* esb_ota.c OTA complete */
	SREQ_SRC_ESB_OTA_DFU,          /* esb_ota.c DFU entry */
	SREQ_SRC_ESB_OTA_FAIL,         /* esb_ota.c OTA failure */
	SREQ_SRC_COUNT
};

/* Up to 4 KB of retained data allowed right now.
 */
#define RETAINED_SIZE (sizeof(struct retained_data))

/* For simplicity in the sample just allow anybody to see and
 * manipulate the retained state.
 */
extern struct retained_data *retained;

/* Check whether the retained data is valid, and if not reset it.
 *
 * @return true if and only if the data was valid and reflects state
 * from previous sessions.
 */
bool retained_validate(void);

/* Update any generic retained state and recalculate its checksum so
 * subsequent boots can verify the retained state.
 */
void retained_update(void);

#endif /* RETAINED_H_ */
```
